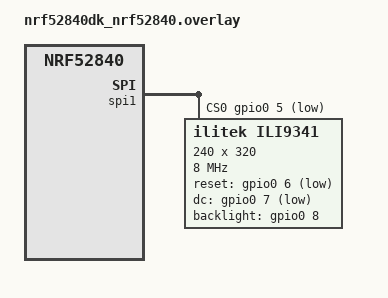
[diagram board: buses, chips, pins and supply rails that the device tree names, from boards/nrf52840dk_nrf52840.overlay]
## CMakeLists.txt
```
#
# Copyright (c) 2024 Nordic Semiconductor
#
# SPDX-License-Identifier: LicenseRef-Nordic-5-Clause
#

cmake_minimum_required(VERSION 3.20.0)
find_package(Zephyr REQUIRED HINTS $ENV{ZEPHYR_BASE})
project(l1_e1_1)

target_sources(app PRIVATE src/main.c)
```

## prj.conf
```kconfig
CONFIG_GPIO=y
CONFIG_SPI=y
CONFIG_DISPLAY=y
CONFIG_DISPLAY_INIT_PRIORITY=90
CONFIG_ILI9341=y
```

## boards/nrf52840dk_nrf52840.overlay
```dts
/* STEP 2.1 - Add the SPI peripheral to spi1 */
&i2c0 {	status = "disabled";};
&spi0 {	status = "disabled";};
&i2c1 {	status = "disabled";};

&spi1 {
    status = "okay";
    cs-gpios = <&gpio0 5 GPIO_ACTIVE_LOW>;

    ili9341@0 {
        compatible = "ilitek,ili9341";
        reg = <0>;
        spi-max-frequency = <8000000>;

        reset-gpios = <&gpio0 6 GPIO_ACTIVE_LOW>;
        dc-gpios = <&gpio0 7 GPIO_ACTIVE_LOW>;

        width = <240>;
        height = <320>;
        rotation = <0>;

        backlight-gpios = <&gpio0 8 GPIO_ACTIVE_HIGH>;
        gamset = [00 01 02 03 04 05 06 07 08 09 0A 0B 0C 0D 0E 0F 10 11 12 13];
    };
};
```

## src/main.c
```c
#include <zephyr/kernel.h>
#include <zephyr/device.h>
#include <zephyr/drivers/display.h>
#include <string.h>

void main(void)
{
    const struct device *display_dev;

    printk("Initializing ILI9341 display...\n");

    display_dev = DEVICE_DT_GET(DT_INST(0, ilitek_ili9341));
    if (!device_is_ready(display_dev)) {
        printk("Display device not ready\n");
        return;
    }

    display_blanking_off(display_dev);

    struct display_buffer_descriptor buf_desc;
    uint8_t buf[240 * 20 * 2]; // one line of 240 pixels, RGB565 (2 bytes per pixel)

    memset(buf, 0xFF, sizeof(buf)); // white

    buf_desc.width = 240;
    buf_desc.height = 20;
    buf_desc.pitch = 240;
    buf_desc.buf_size = sizeof(buf);

    display_write(display_dev, 0, 0, &buf_desc, buf);
    printk("White stripe drawn on screen.\n");
}
```
